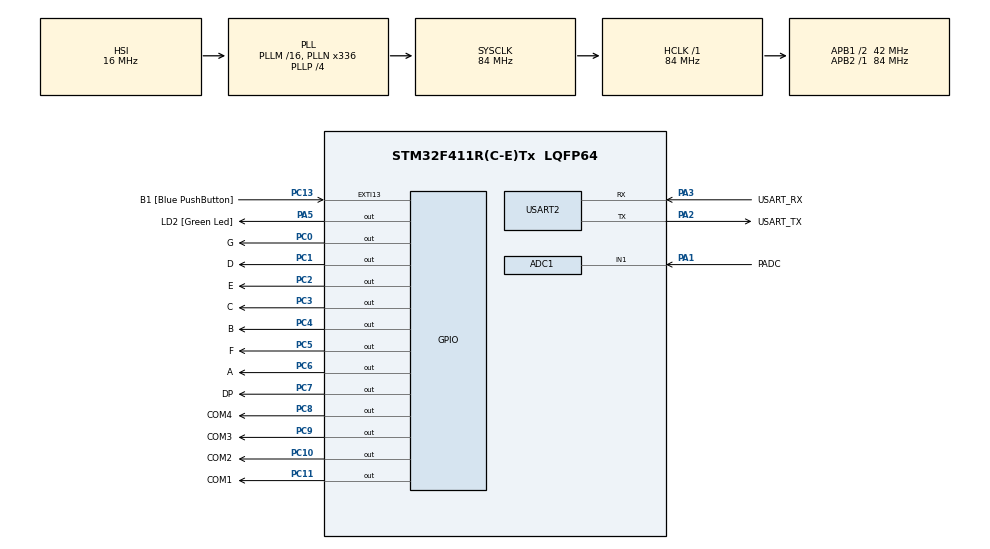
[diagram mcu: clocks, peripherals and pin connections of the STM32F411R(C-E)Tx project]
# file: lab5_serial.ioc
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ADC1.Channel-0\#ChannelRegularConversion=ADC_CHANNEL_1
ADC1.ContinuousConvMode=DISABLE
ADC1.NbrOfConversion=1
ADC1.NbrOfConversionFlag=1
ADC1.Rank-0\#ChannelRegularConversion=1
ADC1.SamplingTime-0\#ChannelRegularConversion=ADC_SAMPLETIME_3CYCLES
ADC1.master=1
Dma.Request0=USART2_TX
Dma.Request1=USART2_RX
Dma.USART2_RX.1.Direction=DMA_PERIPH_TO_MEMORY
Dma.USART2_RX.1.FIFOMode=DMA_FIFOMODE_DISABLE
Dma.USART2_RX.1.Instance=DMA1_Stream5
Dma.USART2_RX.1.MemDataAlignment=DMA_MDATAALIGN_BYTE
Dma.USART2_RX.1.MemInc=DMA_MINC_ENABLE
Dma.USART2_RX.1.Mode=DMA_NORMAL
Dma.USART2_RX.1.PeriphDataAlignment=DMA_PDATAALIGN_BYTE
Dma.USART2_RX.1.PeriphInc=DMA_PINC_DISABLE
Dma.USART2_RX.1.Priority=DMA_PRIORITY_LOW
Dma.USART2_TX.0.Direction=DMA_MEMORY_TO_PERIPH
Dma.USART2_TX.0.FIFOMode=DMA_FIFOMODE_DISABLE
Dma.USART2_TX.0.Instance=DMA1_Stream6
Dma.USART2_TX.0.MemDataAlignment=DMA_MDATAALIGN_BYTE
Dma.USART2_TX.0.MemInc=DMA_MINC_ENABLE
Dma.USART2_TX.0.Mode=DMA_NORMAL
Dma.USART2_TX.0.PeriphDataAlignment=DMA_PDATAALIGN_BYTE
Dma.USART2_TX.0.PeriphInc=DMA_PINC_DISABLE
Dma.USART2_TX.0.Priority=DMA_PRIORITY_LOW
Mcu.Family=STM32F4
Mcu.Name=STM32F411R(C-E)Tx
Mcu.Package=LQFP64
NVIC.ADC_IRQn=true\:0\:0\:false\:false\:true\:true\:true\:true
NVIC.DMA1_Stream5_IRQn=true\:0\:0\:false\:false\:true\:false\:true\:true
NVIC.DMA1_Stream6_IRQn=true\:0\:0\:false\:false\:true\:false\:true\:true
NVIC.PriorityGroup=NVIC_PRIORITYGROUP_0
NVIC.TIM1_TRG_COM_TIM11_IRQn=true\:0\:0\:false\:false\:true\:true\:true\:true
NVIC.TIM1_UP_TIM10_IRQn=true\:0\:0\:false\:false\:true\:true\:true\:true
NVIC.USART2_IRQn=true\:0\:0\:false\:false\:true\:true\:true\:true
PA1.GPIO_Label=PADC
PA1.Signal=ADCx_IN1
PA13.GPIO_Label=TMS
PA13.Mode=Serial_Wire
PA13.Signal=SYS_JTMS-SWDIO
PA14.GPIO_Label=TCK
PA14.Mode=Serial_Wire
PA14.Signal=SYS_JTCK-SWCLK
PA2.GPIO_Label=USART_TX
PA2.Mode=Asynchronous
PA2.Signal=USART2_TX
PA3.GPIO_Label=USART_RX
PA3.Mode=Asynchronous
PA3.Signal=USART2_RX
PA5.GPIO_Label=LD2 [Green Led]
PA5.Signal=GPIO_Output
PB3.GPIO_Label=SWO
PB3.Signal=SYS_JTDO-SWO
PC0.GPIO_Label=G
PC0.Signal=GPIO_Output
PC1.GPIO_Label=D
PC1.Signal=GPIO_Output
PC10.GPIO_Label=COM2
PC10.Signal=GPIO_Output
PC11.GPIO_Label=COM1
PC11.Signal=GPIO_Output
PC13-ANTI_TAMP.GPIO_Label=B1 [Blue PushButton]
PC13-ANTI_TAMP.GPIO_ModeDefaultEXTI=GPIO_MODE_IT_FALLING
PC13-ANTI_TAMP.Signal=GPXTI13
PC14-OSC32_IN.Mode=LSE-External-Oscillator
PC14-OSC32_IN.Signal=RCC_OSC32_IN
PC15-OSC32_OUT.Mode=LSE-External-Oscillator
PC15-OSC32_OUT.Signal=RCC_OSC32_OUT
PC2.GPIO_Label=E
PC2.Signal=GPIO_Output
PC3.GPIO_Label=C
PC3.Signal=GPIO_Output
PC4.GPIO_Label=B
PC4.Signal=GPIO_Output
PC5.GPIO_Label=F
PC5.Signal=GPIO_Output
PC6.GPIO_Label=A
PC6.Signal=GPIO_Output
PC7.GPIO_Label=DP
PC7.Signal=GPIO_Output
PC8.GPIO_Label=COM4
PC8.Signal=GPIO_Output
PC9.GPIO_Label=COM3
PC9.Signal=GPIO_Output
PH0\ -\ OSC_IN.Mode=HSE-External-Clock-Source
PH0\ -\ OSC_IN.Signal=RCC_OSC_IN
PH1\ -\ OSC_OUT.Mode=HSE-External-Clock-Source
PH1\ -\ OSC_OUT.Signal=RCC_OSC_OUT
ProjectManager.HeapSize=0x200
ProjectManager.StackSize=0x400
ProjectManager.TargetToolchain=STM32CubeIDE
RCC.48MHZClocksFreq_Value=84000000
RCC.AHBFreq_Value=84000000
RCC.APB1CLKDivider=RCC_HCLK_DIV2
RCC.APB1Freq_Value=42000000
RCC.APB1TimFreq_Value=84000000
RCC.APB2Freq_Value=84000000
RCC.APB2TimFreq_Value=84000000
RCC.CortexFreq_Value=84000000
RCC.FLatency-AdvancedSettings=FLASH_LATENCY_2
RCC.HCLKFreq_Value=84000000
RCC.HSE_VALUE=8000000
RCC.HSI_VALUE=16000000
RCC.PLLN=336
RCC.PLLP=RCC_PLLP_DIV4
RCC.SYSCLKFreq_VALUE=84000000
RCC.SYSCLKSource=RCC_SYSCLKSOURCE_PLLCLK
RCC.VCOOutputFreq_Value=336000000
SH.ADCx_IN1.0=ADC1_IN1,IN1
TIM10.Period=999
TIM10.Prescaler=8399
TIM11.Period=9
TIM11.Prescaler=8399
USART2.VirtualMode=VM_ASYNC
VP_TIM10_VS_ClockSourceINT.Mode=Enable_Timer
VP_TIM11_VS_ClockSourceINT.Mode=Enable_Timer
board=NUCLEO-F411RE

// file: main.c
/* USER CODE BEGIN Header */
/**
  ******************************************************************************
  * @file           : main.c
  * @brief          : Main program body
  ******************************************************************************
  * @attention
  *
  * Copyright (c) 2023 STMicroelectronics.
  * All rights reserved.
  *
  * This software is licensed under terms that can be found in the LICENSE file
  * in the root directory of this software component.
  * If no LICENSE file comes with this software, it is provided AS-IS.
  *
  ******************************************************************************
  */
/* USER CODE END Header */
#include "main.h"

ADC_HandleTypeDef hadc1;

TIM_HandleTypeDef htim10;
TIM_HandleTypeDef htim11;

UART_HandleTypeDef huart2;
DMA_HandleTypeDef hdma_usart2_tx;
DMA_HandleTypeDef hdma_usart2_rx;

/* USER CODE BEGIN PV */
volatile uint8_t callback_counter = 0;
volatile uint8_t thousands;
volatile uint8_t hundreds;
volatile uint8_t tens;
volatile uint8_t ones;
volatile uint16_t number_disp = 0;

// Serial variables
volatile uint8_t buf_rx[100];
volatile uint8_t buf_tx[100];
volatile uint16_t tx_cnt;
/* USER CODE END PV */

void SystemClock_Config(void);
static void MX_GPIO_Init(void);
static void MX_DMA_Init(void);
static void MX_USART2_UART_Init(void);
static void MX_TIM11_Init(void);
static void MX_ADC1_Init(void);
static void MX_TIM10_Init(void);
/* USER CODE BEGIN PFP */
void com_change(uint8_t com);
void disp_change(uint8_t num);
void num_show(void);

void HAL_ADC_ConvCpltCallback(ADC_HandleTypeDef *hadc){
	if (hadc->Instance == ADC1) {
		uint16_t adc_value;
		adc_value = HAL_ADC_GetValue(&hadc1);
		number_disp = adc_value;
	}
}

void HAL_TIM_PeriodElapsedCallback(TIM_HandleTypeDef *htim) {
	if (htim->Instance == TIM10) {
		// adc interruption
		HAL_ADC_Start_IT(&hadc1);
	}
	if (htim->Instance == TIM11) {
		// Green LED FLASH
		HAL_GPIO_TogglePin(LD2_GPIO_Port, LD2_Pin);
		num_show();

	}
}

void HAL_UART_TxCpltCallback(UART_HandleTypeDef *huart) {
	if (huart->Instance == USART2) {
	}
}

void HAL_UART_RxCpltCallback(UART_HandleTypeDef *huart) {
	if (huart->Instance == USART2) {
		static int8_t x = 0;
		tx_cnt = snprintf(buf_tx, sizeof(buf_tx), "Odebrano: %s Cnt = %d \n", buf_rx, x++);
		HAL_UART_Transmit_DMA(huart, buf_tx, tx_cnt);
		HAL_UART_Receive_DMA(huart, buf_rx, 2);
	}
}

void num_show(void) {
	// Displaying numbers
	if(callback_counter == 0) {
		// decoding
		ones = number_disp % 10;
		tens = (number_disp / 10) % 10;
		hundreds = (number_disp / 100) % 10;
		thousands = (number_disp / 1000) % 10;

		// turning off all displays
		com_change(0);

		// number set
		disp_change(thousands);

		// turning on display 1
		if (thousands != 0) {
		com_change(1);
		}
		callback_counter++;
	}
	else if (callback_counter == 1) {
		// turning off all displays
		com_change(0);

		// number set
		disp_change(hundreds);

		// turning on display 2
		if (hundreds != 0 || thousands != 0) {
		com_change(2);
		}
		callback_counter++;
	}
	else if (callback_counter == 2) {
		// turning off all displays
		com_change(0);

		// number set
		disp_change(tens);

		// turning on display 3
		if (thousands != 0 || hundreds != 0 || tens != 0) {
		com_change(3);
		}
		callback_counter++;
	}
	else if (callback_counter == 3) {
		// turning off all displays
		com_change(0);

		// number set
		disp_change(ones);

		// turning on display 4
		com_change(4);
		callback_counter = 0;
	}
}

void com_change(uint8_t com) {
	switch(com) {
	case 1:
		HAL_GPIO_WritePin(GPIOC, COM1_Pin, GPIO_PIN_RESET);
		HAL_GPIO_WritePin(GPIOC, COM2_Pin, GPIO_PIN_SET);
		HAL_GPIO_WritePin(GPIOC, COM3_Pin, GPIO_PIN_SET);
		HAL_GPIO_WritePin(GPIOC, COM4_Pin, GPIO_PIN_SET);
		break;
	case 2:
		HAL_GPIO_WritePin(GPIOC, COM1_Pin, GPIO_PIN_SET);
		HAL_GPIO_WritePin(GPIOC, COM2_Pin, GPIO_PIN_RESET);
		HAL_GPIO_WritePin(GPIOC, COM3_Pin, GPIO_PIN_SET);
		HAL_GPIO_WritePin(GPIOC, COM4_Pin, GPIO_PIN_SET);
		break;
	case 3:
		HAL_GPIO_WritePin(GPIOC, COM1_Pin, GPIO_PIN_SET);
		HAL_GPIO_WritePin(GPIOC, COM2_Pin, GPIO_PIN_SET);
		HAL_GPIO_WritePin(GPIOC, COM3_Pin, GPIO_PIN_RESET);
		HAL_GPIO_WritePin(GPIOC, COM4_Pin, GPIO_PIN_SET);
		break;
	case 4:
		HAL_GPIO_WritePin(GPIOC, COM1_Pin, GPIO_PIN_SET);
		HAL_GPIO_WritePin(GPIOC, COM2_Pin, GPIO_PIN_SET);
		HAL_GPIO_WritePin(GPIOC, COM3_Pin, GPIO_PIN_SET);
		HAL_GPIO_WritePin(GPIOC, COM4_Pin, GPIO_PIN_RESET);
		break;
	default:
		HAL_GPIO_WritePin(GPIOC, COM1_Pin, GPIO_PIN_SET);
		HAL_GPIO_WritePin(GPIOC, COM2_Pin, GPIO_PIN_SET);
		HAL_GPIO_WritePin(GPIOC, COM3_Pin, GPIO_PIN_SET);
		HAL_GPIO_WritePin(GPIOC, COM4_Pin, GPIO_PIN_SET);
		break;
	}
}

void disp_change(uint8_t num) {
	switch(num) {
	case 0:
		HAL_GPIO_WritePin(GPIOC, A_Pin, GPIO_PIN_SET);
		HAL_GPIO_WritePin(GPIOC, B_Pin, GPIO_PIN_SET);
		HAL_GPIO_WritePin(GPIOC, C_Pin, GPIO_PIN_SET);
		HAL_GPIO_WritePin(GPIOC, D_Pin, GPIO_PIN_SET);
		HAL_GPIO_WritePin(GPIOC, E_Pin, GPIO_PIN_SET);
		HAL_GPIO_WritePin(GPIOC, F_Pin, GPIO_PIN_SET);
		HAL_GPIO_WritePin(GPIOC, G_Pin, GPIO_PIN_RESET);
		break;
	case 1:
		HAL_GPIO_WritePin(GPIOC, A_Pin, GPIO_PIN_RESET);
		HAL_GPIO_WritePin(GPIOC, B_Pin, GPIO_PIN_SET);
		HAL_GPIO_WritePin(GPIOC, C_Pin, GPIO_PIN_SET);
		HAL_GPIO_WritePin(GPIOC, D_Pin, GPIO_PIN_RESET);
		HAL_GPIO_WritePin(GPIOC, E_Pin, GPIO_PIN_RESET);
		HAL_GPIO_WritePin(GPIOC, F_Pin, GPIO_PIN_RESET);
		HAL_GPIO_WritePin(GPIOC, G_Pin, GPIO_PIN_RESET);
		break;
	case 2:
		HAL_GPIO_WritePin(GPIOC, A_Pin, GPIO_PIN_SET);
		HAL_GPIO_WritePin(GPIOC, B_Pin, GPIO_PIN_SET);
		HAL_GPIO_WritePin(GPIOC, C_Pin, GPIO_PIN_RESET);
		HAL_GPIO_WritePin(GPIOC, D_Pin, GPIO_PIN_SET);
		HAL_GPIO_WritePin(GPIOC, E_Pin, GPIO_PIN_SET);
		HAL_GPIO_WritePin(GPIOC, F_Pin, GPIO_PIN_RESET);
		HAL_GPIO_WritePin(GPIOC, G_Pin, GPIO_PIN_SET);
		break;
	case 3:
		HAL_GPIO_WritePin(GPIOC, A_Pin, GPIO_PIN_SET);
		HAL_GPIO_WritePin(GPIOC, B_Pin, GPIO_PIN_SET);
		HAL_GPIO_WritePin(GPIOC, C_Pin, GPIO_PIN_SET);
		HAL_GPIO_WritePin(GPIOC, D_Pin, GPIO_PIN_SET);
		HAL_GPIO_WritePin(GPIOC, E_Pin, GPIO_PIN_RESET);
		HAL_GPIO_WritePin(GPIOC, F_Pin, GPIO_PIN_RESET);
		HAL_GPIO_WritePin(GPIOC, G_Pin, GPIO_PIN_SET);
		break;
	case 4:
		HAL_GPIO_WritePin(GPIOC, A_Pin, GPIO_PIN_RESET);
		HAL_GPIO_WritePin(GPIOC, B_Pin, GPIO_PIN_SET);
		HAL_GPIO_WritePin(GPIOC, C_Pin, GPIO_PIN_SET);
		HAL_GPIO_WritePin(GPIOC, D_Pin, GPIO_PIN_RESET);
		HAL_GPIO_WritePin(GPIOC, E_Pin, GPIO_PIN_RESET);
		HAL_GPIO_WritePin(GPIOC, F_Pin, GPIO_PIN_SET);
		HAL_GPIO_WritePin(GPIOC, G_Pin, GPIO_PIN_SET);
		break;
	case 5:
		HAL_GPIO_WritePin(GPIOC, A_Pin, GPIO_PIN_SET);
		HAL_GPIO_WritePin(GPIOC, B_Pin, GPIO_PIN_RESET);
		HAL_GPIO_WritePin(GPIOC, C_Pin, GPIO_PIN_SET);
		HAL_GPIO_WritePin(GPIOC, D_Pin, GPIO_PIN_SET);
		HAL_GPIO_WritePin(GPIOC, E_Pin, GPIO_PIN_RESET);
		HAL_GPIO_WritePin(GPIOC, F_Pin, GPIO_PIN_SET);
		HAL_GPIO_WritePin(GPIOC, G_Pin, GPIO_PIN_SET);
		break;
	case 6:
		HAL_GPIO_WritePin(GPIOC, A_Pin, GPIO_PIN_SET);
		HAL_GPIO_WritePin(GPIOC, B_Pin, GPIO_PIN_RESET);
		HAL_GPIO_WritePin(GPIOC, C_Pin, GPIO_PIN_SET);
		HAL_GPIO_WritePin(GPIOC, D_Pin, GPIO_PIN_SET);
		HAL_GPIO_WritePin(GPIOC, E_Pin, GPIO_PIN_SET);
		HAL_GPIO_WritePin(GPIOC, F_Pin, GPIO_PIN_SET);
		HAL_GPIO_WritePin(GPIOC, G_Pin, GPIO_PIN_SET);
		break;
	case 7:
		HAL_GPIO_WritePin(GPIOC, A_Pin, GPIO_PIN_SET);
		HAL_GPIO_WritePin(GPIOC, B_Pin, GPIO_PIN_SET);
		HAL_GPIO_WritePin(GPIOC, C_Pin, GPIO_PIN_SET);
		HAL_GPIO_WritePin(GPIOC, D_Pin, GPIO_PIN_RESET);
		HAL_GPIO_WritePin(GPIOC, E_Pin, GPIO_PIN_RESET);
		HAL_GPIO_WritePin(GPIOC, F_Pin, GPIO_PIN_RESET);
		HAL_GPIO_WritePin(GPIOC, G_Pin, GPIO_PIN_RESET);
		break;
	case 8:
		HAL_GPIO_WritePin(GPIOC, A_Pin, GPIO_PIN_SET);
		HAL_GPIO_WritePin(GPIOC, B_Pin, GPIO_PIN_SET);
		HAL_GPIO_WritePin(GPIOC, C_Pin, GPIO_PIN_SET);
		HAL_GPIO_WritePin(GPIOC, D_Pin, GPIO_PIN_SET);
		HAL_GPIO_WritePin(GPIOC, E_Pin, GPIO_PIN_SET);
		HAL_GPIO_WritePin(GPIOC, F_Pin, GPIO_PIN_SET);
		HAL_GPIO_WritePin(GPIOC, G_Pin, GPIO_PIN_SET);
		break;
	case 9:
		HAL_GPIO_WritePin(GPIOC, A_Pin, GPIO_PIN_SET);
		HAL_GPIO_WritePin(GPIOC, B_Pin, GPIO_PIN_SET);
		HAL_GPIO_WritePin(GPIOC, C_Pin, GPIO_PIN_SET);
		HAL_GPIO_WritePin(GPIOC, D_Pin, GPIO_PIN_SET);
		HAL_GPIO_WritePin(GPIOC, E_Pin, GPIO_PIN_RESET);
		HAL_GPIO_WritePin(GPIOC, F_Pin, GPIO_PIN_SET);
		HAL_GPIO_WritePin(GPIOC, G_Pin, GPIO_PIN_SET);
		break;
	default:
		HAL_GPIO_WritePin(GPIOC, A_Pin, GPIO_PIN_RESET);
		HAL_GPIO_WritePin(GPIOC, B_Pin, GPIO_PIN_RESET);
		HAL_GPIO_WritePin(GPIOC, C_Pin, GPIO_PIN_RESET);
		HAL_GPIO_WritePin(GPIOC, D_Pin, GPIO_PIN_RESET);
		HAL_GPIO_WritePin(GPIOC, E_Pin, GPIO_PIN_RESET);
		HAL_GPIO_WritePin(GPIOC, F_Pin, GPIO_PIN_RESET);
		HAL_GPIO_WritePin(GPIOC, G_Pin, GPIO_PIN_RESET);
		break;
	}
}

/* USER CODE END PFP */

int main(void)
{

  /* MCU Configuration--------------------------------------------------------*/

  /* Reset of all peripherals, Initializes the Flash interface and the Systick. */
  HAL_Init();

  /* Configure the system clock */
  SystemClock_Config();

  /* Initialize all configured peripherals */
  MX_GPIO_Init();
  MX_DMA_Init();
  MX_USART2_UART_Init();
  MX_TIM11_Init();
  MX_ADC1_Init();
  MX_TIM10_Init();
  /* USER CODE BEGIN 2 */

  // timers start with interruption
  HAL_TIM_Base_Start_IT(&htim11);
  HAL_TIM_Base_Start_IT(&htim10);

  // Serial code
  HAL_UART_Receive_DMA(&huart2, buf_rx, 2);
  /* USER CODE END 2 */

  /* Infinite loop */
  while (1)
  {

  }
}

void SystemClock_Config(void)
{
  RCC_OscInitTypeDef RCC_OscInitStruct = {0};
  RCC_ClkInitTypeDef RCC_ClkInitStruct = {0};

  /** Configure the main internal regulator output voltage
  */
  __HAL_RCC_PWR_CLK_ENABLE();
  __HAL_PWR_VOLTAGESCALING_CONFIG(PWR_REGULATOR_VOLTAGE_SCALE1);

  /** Initializes the RCC Oscillators according to the specified parameters
  * in the RCC_OscInitTypeDef structure.
  */
  RCC_OscInitStruct.OscillatorType = RCC_OSCILLATORTYPE_HSI;
  RCC_OscInitStruct.HSIState = RCC_HSI_ON;
  RCC_OscInitStruct.HSICalibrationValue = RCC_HSICALIBRATION_DEFAULT;
  RCC_OscInitStruct.PLL.PLLState = RCC_PLL_ON;
  RCC_OscInitStruct.PLL.PLLSource = RCC_PLLSOURCE_HSI;
  RCC_OscInitStruct.PLL.PLLM = 16;
  RCC_OscInitStruct.PLL.PLLN = 336;
  RCC_OscInitStruct.PLL.PLLP = RCC_PLLP_DIV4;
  RCC_OscInitStruct.PLL.PLLQ = 4;
  if (HAL_RCC_OscConfig(&RCC_OscInitStruct) != HAL_OK)
  {
    Error_Handler();
  }

  /** Initializes the CPU, AHB and APB buses clocks
  */
  RCC_ClkInitStruct.ClockType = RCC_CLOCKTYPE_HCLK|RCC_CLOCKTYPE_SYSCLK
                              |RCC_CLOCKTYPE_PCLK1|RCC_CLOCKTYPE_PCLK2;
  RCC_ClkInitStruct.SYSCLKSource = RCC_SYSCLKSOURCE_PLLCLK;
  RCC_ClkInitStruct.AHBCLKDivider = RCC_SYSCLK_DIV1;
  RCC_ClkInitStruct.APB1CLKDivider = RCC_HCLK_DIV2;
  RCC_ClkInitStruct.APB2CLKDivider = RCC_HCLK_DIV1;

  if (HAL_RCC_ClockConfig(&RCC_ClkInitStruct, FLASH_LATENCY_2) != HAL_OK)
  {
    Error_Handler();
  }
}

static void MX_ADC1_Init(void)
{

  ADC_ChannelConfTypeDef sConfig = {0};

  /** Configure the global features of the ADC (Clock, Resolution, Data Alignment and number of conversion)
  */
  hadc1.Instance = ADC1;
  hadc1.Init.ClockPrescaler = ADC_CLOCK_SYNC_PCLK_DIV4;
  hadc1.Init.Resolution = ADC_RESOLUTION_12B;
  hadc1.Init.ScanConvMode = DISABLE;
  hadc1.Init.ContinuousConvMode = DISABLE;
  hadc1.Init.DiscontinuousConvMode = DISABLE;
  hadc1.Init.ExternalTrigConvEdge = ADC_EXTERNALTRIGCONVEDGE_NONE;
  hadc1.Init.ExternalTrigConv = ADC_SOFTWARE_START;
  hadc1.Init.DataAlign = ADC_DATAALIGN_RIGHT;
  hadc1.Init.NbrOfConversion = 1;
  hadc1.Init.DMAContinuousRequests = DISABLE;
  hadc1.Init.EOCSelection = ADC_EOC_SINGLE_CONV;
  if (HAL_ADC_Init(&hadc1) != HAL_OK)
  {
    Error_Handler();
  }

  /** Configure for the selected ADC regular channel its corresponding rank in the sequencer and its sample time.
  */
  sConfig.Channel = ADC_CHANNEL_1;
  sConfig.Rank = 1;
  sConfig.SamplingTime = ADC_SAMPLETIME_3CYCLES;
  if (HAL_ADC_ConfigChannel(&hadc1, &sConfig) != HAL_OK)
  {
    Error_Handler();
  }

}

static void MX_TIM10_Init(void)
{

  htim10.Instance = TIM10;
  htim10.Init.Prescaler = 8399;
  htim10.Init.CounterMode = TIM_COUNTERMODE_UP;
  htim10.Init.Period = 999;
  htim10.Init.ClockDivision = TIM_CLOCKDIVISION_DIV1;
  htim10.Init.AutoReloadPreload = TIM_AUTORELOAD_PRELOAD_DISABLE;
  if (HAL_TIM_Base_Init(&htim10) != HAL_OK)
  {
    Error_Handler();
  }

}

static void MX_TIM11_Init(void)
{

  htim11.Instance = TIM11;
  htim11.Init.Prescaler = 8399;
  htim11.Init.CounterMode = TIM_COUNTERMODE_UP;
  htim11.Init.Period = 9;
  htim11.Init.ClockDivision = TIM_CLOCKDIVISION_DIV1;
  htim11.Init.AutoReloadPreload = TIM_AUTORELOAD_PRELOAD_DISABLE;
  if (HAL_TIM_Base_Init(&htim11) != HAL_OK)
  {
    Error_Handler();
  }

}

static void MX_USART2_UART_Init(void)
{

  huart2.Instance = USART2;
  huart2.Init.BaudRate = 115200;
  huart2.Init.WordLength = UART_WORDLENGTH_8B;
  huart2.Init.StopBits = UART_STOPBITS_1;
  huart2.Init.Parity = UART_PARITY_NONE;
  huart2.Init.Mode = UART_MODE_TX_RX;
  huart2.Init.HwFlowCtl = UART_HWCONTROL_NONE;
  huart2.Init.OverSampling = UART_OVERSAMPLING_16;
  if (HAL_UART_Init(&huart2) != HAL_OK)
  {
    Error_Handler();
  }

}

static void MX_DMA_Init(void)
{

  /* DMA controller clock enable */
  __HAL_RCC_DMA1_CLK_ENABLE();

  /* DMA interrupt init */
  /* DMA1_Stream5_IRQn interrupt configuration */
  HAL_NVIC_SetPriority(DMA1_Stream5_IRQn, 0, 0);
  HAL_NVIC_EnableIRQ(DMA1_Stream5_IRQn);
  /* DMA1_Stream6_IRQn interrupt configuration */
  HAL_NVIC_SetPriority(DMA1_Stream6_IRQn, 0, 0);
  HAL_NVIC_EnableIRQ(DMA1_Stream6_IRQn);

}

static void MX_GPIO_Init(void)
{
  GPIO_InitTypeDef GPIO_InitStruct = {0};

  /* GPIO Ports Clock Enable */
  __HAL_RCC_GPIOC_CLK_ENABLE();
  __HAL_RCC_GPIOH_CLK_ENABLE();
  __HAL_RCC_GPIOA_CLK_ENABLE();
  __HAL_RCC_GPIOB_CLK_ENABLE();

  /*Configure GPIO pin Output Level */
  HAL_GPIO_WritePin(GPIOC, G_Pin|D_Pin|E_Pin|C_Pin
                          |B_Pin|F_Pin|A_Pin|DP_Pin
                          |COM4_Pin|COM3_Pin|COM2_Pin|COM1_Pin, GPIO_PIN_RESET);

  /*Configure GPIO pin Output Level */
  HAL_GPIO_WritePin(LD2_GPIO_Port, LD2_Pin, GPIO_PIN_RESET);

  /*Configure GPIO pin : B1_Pin */
  GPIO_InitStruct.Pin = B1_Pin;
  GPIO_InitStruct.Mode = GPIO_MODE_IT_FALLING;
  GPIO_InitStruct.Pull = GPIO_NOPULL;
  HAL_GPIO_Init(B1_GPIO_Port, &GPIO_InitStruct);

  /*Configure GPIO pins : G_Pin D_Pin E_Pin C_Pin
                           B_Pin F_Pin A_Pin DP_Pin
                           COM4_Pin COM3_Pin COM2_Pin COM1_Pin */
  GPIO_InitStruct.Pin = G_Pin|D_Pin|E_Pin|C_Pin
                          |B_Pin|F_Pin|A_Pin|DP_Pin
                          |COM4_Pin|COM3_Pin|COM2_Pin|COM1_Pin;
  GPIO_InitStruct.Mode = GPIO_MODE_OUTPUT_PP;
  GPIO_InitStruct.Pull = GPIO_NOPULL;
  GPIO_InitStruct.Speed = GPIO_SPEED_FREQ_LOW;
  HAL_GPIO_Init(GPIOC, &GPIO_InitStruct);

  /*Configure GPIO pin : LD2_Pin */
  GPIO_InitStruct.Pin = LD2_Pin;
  GPIO_InitStruct.Mode = GPIO_MODE_OUTPUT_PP;
  GPIO_InitStruct.Pull = GPIO_NOPULL;
  GPIO_InitStruct.Speed = GPIO_SPEED_FREQ_LOW;
  HAL_GPIO_Init(LD2_GPIO_Port, &GPIO_InitStruct);

}

void Error_Handler(void)
{
  __disable_irq();
  while (1)
  {
  }
}
